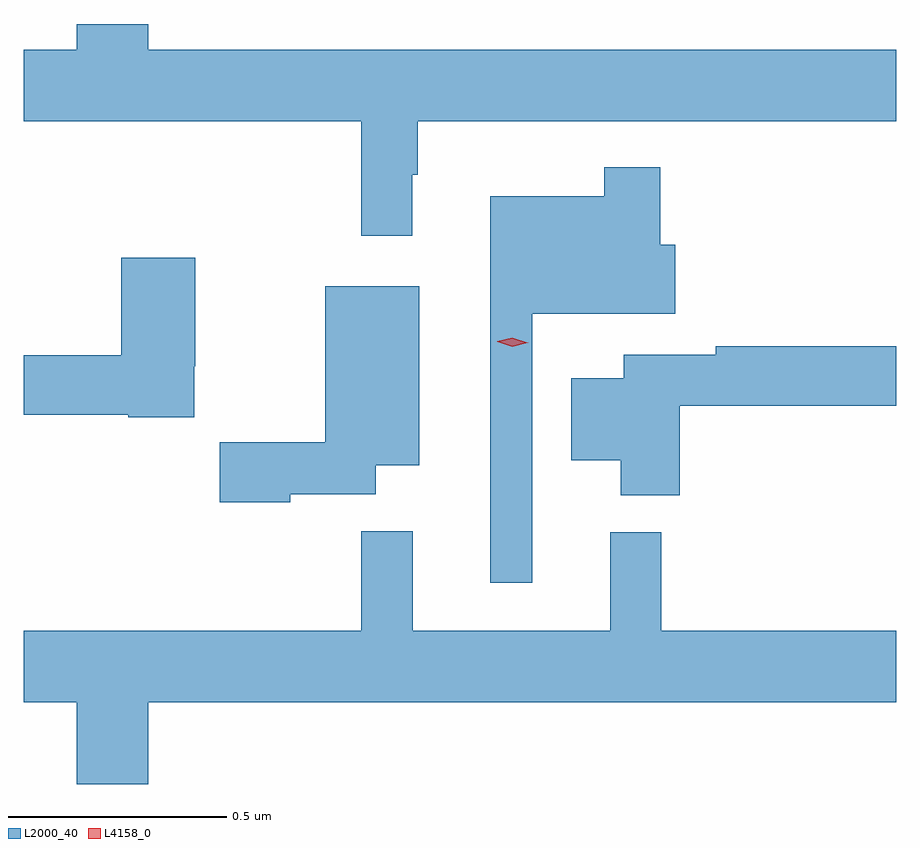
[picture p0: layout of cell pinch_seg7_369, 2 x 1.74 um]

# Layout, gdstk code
import gdstk
lib = gdstk.Library(unit=1e-6, precision=1e-09)
def P(c, l, *ps):  # polygons
    for p in ps: c.add(gdstk.Polygon(p, *l))
L2000_40 = (2000, 40)
L4158_0 = (4158, 0)

pinch_seg7_369 = lib.new_cell('pinch_seg7_369')
P(pinch_seg7_369, L2000_40, [(429.514,1017.809),(429.526,1017.809),(429.526,1017.932),(430.623,1017.932),(430.623,1018.096),(428.908,1018.096),(428.908,1018.155),(428.744,1018.155),(428.744,1018.096),(428.623,1018.096),(428.623,1017.932),(429.397,1017.932),(429.397,1017.669),(429.514,1017.669)],
  [(429.789,1017.491),(430.117,1017.491),(430.117,1017.649),(430.082,1017.649),(430.082,1017.826),(429.954,1017.826),(429.954,1017.76),(429.692,1017.76),(429.692,1016.874),(429.789,1016.874)],
  [(429.014,1017.37),(429.016,1017.37),(429.016,1017.619),(428.846,1017.619),(428.846,1017.395),(428.623,1017.395),(428.623,1017.259),(428.862,1017.259),(428.862,1017.253),(429.014,1017.253)],
  [(429.234,1017.077),(429.43,1017.077),(429.43,1017.143),(429.529,1017.143),(429.529,1017.553),(429.314,1017.553),(429.314,1017.196),(429.072,1017.196),(429.072,1017.058),(429.234,1017.058)],
  [(430.127,1017.28),(430.623,1017.28),(430.623,1017.416),(430.21,1017.416),(430.21,1017.396),(429.998,1017.396),(429.998,1017.343),(429.878,1017.343),(429.878,1017.155),(429.992,1017.155),(429.992,1017.074),(430.127,1017.074)],
  [(428.908,1016.6),(430.623,1016.6),(430.623,1016.764),(430.085,1016.764),(430.085,1016.989),(429.968,1016.989),(429.968,1016.764),(429.515,1016.764),(429.515,1016.992),(429.397,1016.992),(429.397,1016.764),(428.623,1016.764),(428.623,1016.6),(428.744,1016.6),(428.744,1016.412),(428.908,1016.412)])
P(pinch_seg7_369, L4158_0, [(429.743,1017.415),(429.708,1017.426),(429.708,1017.427),(429.708,1017.427),(429.743,1017.435),(429.778,1017.424),(429.779,1017.424),(429.778,1017.424)])

lib.write_gds('pinch_seg7_369.gds')
